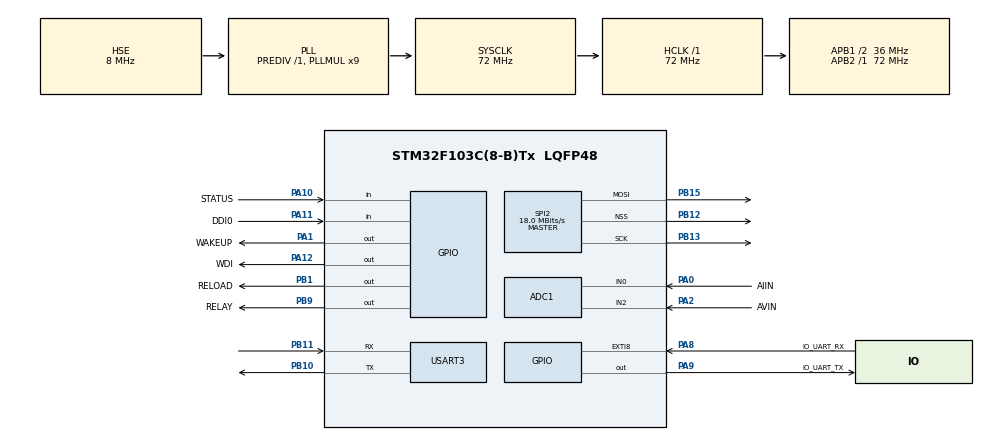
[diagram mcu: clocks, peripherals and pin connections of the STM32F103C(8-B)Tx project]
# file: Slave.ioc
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ADC1.Channel-0\#ChannelRegularConversion=ADC_CHANNEL_0
ADC1.Channel-1\#ChannelRegularConversion=ADC_CHANNEL_2
ADC1.ContinuousConvMode=ENABLE
ADC1.NbrOfConversion=2
ADC1.NbrOfConversionFlag=1
ADC1.Rank-0\#ChannelRegularConversion=1
ADC1.Rank-1\#ChannelRegularConversion=2
ADC1.SamplingTime-0\#ChannelRegularConversion=ADC_SAMPLETIME_71CYCLES_5
ADC1.SamplingTime-1\#ChannelRegularConversion=ADC_SAMPLETIME_71CYCLES_5
ADC1.master=1
Dma.ADC1.2.Direction=DMA_PERIPH_TO_MEMORY
Dma.ADC1.2.Instance=DMA1_Channel1
Dma.ADC1.2.MemDataAlignment=DMA_MDATAALIGN_WORD
Dma.ADC1.2.MemInc=DMA_MINC_ENABLE
Dma.ADC1.2.Mode=DMA_NORMAL
Dma.ADC1.2.PeriphDataAlignment=DMA_PDATAALIGN_WORD
Dma.ADC1.2.PeriphInc=DMA_PINC_DISABLE
Dma.ADC1.2.Priority=DMA_PRIORITY_MEDIUM
Dma.Request0=USART3_TX
Dma.Request1=USART3_RX
Dma.Request2=ADC1
Dma.USART3_RX.1.Direction=DMA_PERIPH_TO_MEMORY
Dma.USART3_RX.1.Instance=DMA1_Channel3
Dma.USART3_RX.1.MemDataAlignment=DMA_MDATAALIGN_BYTE
Dma.USART3_RX.1.MemInc=DMA_MINC_ENABLE
Dma.USART3_RX.1.Mode=DMA_NORMAL
Dma.USART3_RX.1.PeriphDataAlignment=DMA_PDATAALIGN_BYTE
Dma.USART3_RX.1.PeriphInc=DMA_PINC_DISABLE
Dma.USART3_RX.1.Priority=DMA_PRIORITY_HIGH
Dma.USART3_TX.0.Direction=DMA_MEMORY_TO_PERIPH
Dma.USART3_TX.0.Instance=DMA1_Channel2
Dma.USART3_TX.0.MemDataAlignment=DMA_MDATAALIGN_BYTE
Dma.USART3_TX.0.MemInc=DMA_MINC_ENABLE
Dma.USART3_TX.0.Mode=DMA_NORMAL
Dma.USART3_TX.0.PeriphDataAlignment=DMA_PDATAALIGN_BYTE
Dma.USART3_TX.0.PeriphInc=DMA_PINC_DISABLE
Dma.USART3_TX.0.Priority=DMA_PRIORITY_MEDIUM
FREERTOS.BinarySemaphores01=Recive,Dynamic,NULL
FREERTOS.INCLUDE_vTaskDelete=0
FREERTOS.Mutexes01=shellMutex,Dynamic,NULL
FREERTOS.Tasks01=shell,-2,256,Shell_Task,Default,&shell,Dynamic,NULL,NULL;modbus,-1,128,Modbus_Task,Default,NULL,Dynamic,NULL,NULL;io_output,0,128,Io_Output_Task,Default,NULL,Dynamic,NULL,NULL;IWDG,3,64,IWDG_Task,Default,NULL,Dynamic,NULL,NULL
FREERTOS.Timers01=Timer1,Timer_Callback,osTimerPeriodic,Default,NULL,Dynamic,NULL
FREERTOS.configCHECK_FOR_STACK_OVERFLOW=2
FREERTOS.configMINIMAL_STACK_SIZE=64
FREERTOS.configTOTAL_HEAP_SIZE=14336
FREERTOS.configUSE_TIMERS=1
IWDG.Prescaler=IWDG_PRESCALER_64
IWDG.Reload=1250
Mcu.Family=STM32F1
Mcu.Name=STM32F103C(8-B)Tx
Mcu.Package=LQFP48
NVIC.DMA1_Channel1_IRQn=true\:5\:0\:false\:false\:true\:true\:false\:true\:true
NVIC.DMA1_Channel2_IRQn=true\:5\:0\:false\:false\:true\:true\:false\:true\:true
NVIC.DMA1_Channel3_IRQn=true\:5\:0\:false\:false\:true\:true\:false\:true\:true
NVIC.EXTI9_5_IRQn=true\:3\:0\:true\:false\:true\:false\:true\:true\:true
NVIC.PriorityGroup=NVIC_PRIORITYGROUP_4
NVIC.TIM1_UP_IRQn=true\:0\:0\:false\:false\:true\:false\:false\:true\:true
NVIC.TIM3_IRQn=true\:4\:0\:true\:false\:true\:false\:true\:true\:true
NVIC.TIM4_IRQn=true\:3\:0\:true\:false\:true\:false\:true\:true\:true
NVIC.TimeBase=TIM1_UP_IRQn
NVIC.TimeBaseIP=TIM1
NVIC.USART3_IRQn=true\:5\:0\:false\:false\:true\:true\:true\:true\:true
PA0-WKUP.GPIO_Label=AIIN
PA0-WKUP.Signal=ADCx_IN0
PA1.GPIO_Label=WAKEUP
PA1.GPIO_PuPd=GPIO_PULLUP
PA1.GPIO_Speed=GPIO_SPEED_FREQ_LOW
PA1.PinState=GPIO_PIN_SET
PA1.Signal=GPIO_Output
PA10.GPIO_Label=STATUS
PA10.GPIO_PuPd=GPIO_PULLUP
PA10.Signal=GPIO_Input
PA11.GPIO_Label=DDI0
PA11.GPIO_PuPd=GPIO_PULLUP
PA11.Signal=GPIO_Input
PA12.GPIO_Label=WDI
PA12.GPIO_PuPd=GPIO_PULLUP
PA12.GPIO_Speed=GPIO_SPEED_FREQ_HIGH
PA12.PinState=GPIO_PIN_SET
PA12.Signal=GPIO_Output
PA13.Mode=Serial_Wire
PA13.Signal=SYS_JTMS-SWDIO
PA14.Mode=Serial_Wire
PA14.Signal=SYS_JTCK-SWCLK
PA2.GPIO_Label=AVIN
PA2.Signal=ADCx_IN2
PA8.GPIO_Label=IO_UART_RX
PA8.GPIO_ModeDefaultEXTI=GPIO_MODE_IT_FALLING
PA8.GPIO_PuPd=GPIO_PULLUP
PA8.Signal=GPXTI8
PA9.GPIO_Label=IO_UART_TX
PA9.GPIO_PuPd=GPIO_PULLUP
PA9.GPIO_Speed=GPIO_SPEED_FREQ_HIGH
PA9.PinState=GPIO_PIN_SET
PA9.Signal=GPIO_Output
PB1.GPIO_Label=RELOAD
PB1.GPIO_PuPd=GPIO_PULLUP
PB1.PinState=GPIO_PIN_SET
PB1.Signal=GPIO_Output
PB10.Mode=Asynchronous
PB10.Signal=USART3_TX
PB11.Mode=Asynchronous
PB11.Signal=USART3_RX
PB12.Mode=NSS_Signal_Hard_Output
PB12.Signal=SPI2_NSS
PB13.Mode=TX_Only_Simplex_Unidirect_Master
PB13.Signal=SPI2_SCK
PB15.Mode=TX_Only_Simplex_Unidirect_Master
PB15.Signal=SPI2_MOSI
PB9.GPIO_Label=RELAY
PB9.GPIO_PuPd=GPIO_PULLDOWN
PB9.GPIO_Speed=GPIO_SPEED_FREQ_HIGH
PB9.Signal=GPIO_Output
PC14-OSC32_IN.Mode=LSE-External-Oscillator
PC14-OSC32_IN.Signal=RCC_OSC32_IN
PC15-OSC32_OUT.Mode=LSE-External-Oscillator
PC15-OSC32_OUT.Signal=RCC_OSC32_OUT
PD0-OSC_IN.Mode=HSE-External-Oscillator
PD0-OSC_IN.Signal=RCC_OSC_IN
PD1-OSC_OUT.Mode=HSE-External-Oscillator
PD1-OSC_OUT.Signal=RCC_OSC_OUT
ProjectManager.HeapSize=0x0
ProjectManager.StackSize=0x800
ProjectManager.TargetToolchain=MDK-ARM V5.27
RCC.ADCPresc=RCC_ADCPCLK2_DIV6
RCC.AHBFreq_Value=72000000
RCC.APB1CLKDivider=RCC_HCLK_DIV2
RCC.APB1Freq_Value=36000000
RCC.APB1TimFreq_Value=72000000
RCC.APB2Freq_Value=72000000
RCC.APB2TimFreq_Value=72000000
RCC.HCLKFreq_Value=72000000
RCC.PLLMUL=RCC_PLL_MUL9
RCC.PLLSourceVirtual=RCC_PLLSOURCE_HSE
RCC.SYSCLKFreq_VALUE=72000000
RCC.SYSCLKSource=RCC_SYSCLKSOURCE_PLLCLK
RCC.USBFreq_Value=72000000
SH.ADCx_IN0.0=ADC1_IN0,IN0
SH.ADCx_IN2.0=ADC1_IN2,IN2
SPI2.CalculateBaudRate=18.0 MBits/s
SPI2.DataSize=SPI_DATASIZE_16BIT
SPI2.Direction=SPI_DIRECTION_2LINES
SPI2.Mode=SPI_MODE_MASTER
SPI2.VirtualNSS=VM_NSSHARD
SPI2.VirtualType=VM_MASTER
TIM3.Prescaler=72-1
TIM4.Prescaler=72-1
USART3.VirtualMode=VM_ASYNC
VP_FREERTOS_VS_CMSIS_V1.Mode=CMSIS_V1
VP_IWDG_VS_IWDG.Mode=IWDG_Activate
VP_SYS_VS_tim1.Mode=TIM1
VP_TIM3_VS_ClockSourceINT.Mode=Internal
VP_TIM4_VS_ClockSourceINT.Mode=Internal
board=custom

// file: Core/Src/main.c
/* USER CODE BEGIN Header */
/**
 ******************************************************************************
 * @file           : main.c
 * @brief          : Main program body
 ******************************************************************************
 * @attention
 *
 * <h2><center>&copy; Copyright (c) 2022 STMicroelectronics.
 * All rights reserved.</center></h2>
 *
 * This software component is licensed by ST under Ultimate Liberty license
 * SLA0044, the "License"; You may not use this file except in compliance with
 * the License. You may obtain a copy of the License at:
 *                             www.st.com/SLA0044
 *
 ******************************************************************************
 */
/* USER CODE END Header */
#include "main.h"
#include "cmsis_os.h"
#include "adc.h"
#include "dma.h"
#include "iwdg.h"
#include "spi.h"
#include "tim.h"
#include "usart.h"
#include "gpio.h"

/* USER CODE BEGIN Includes */
#include "shell_port.h"
#include "mdrtuslave.h"
#include "io_uart.h"
/* USER CODE END Includes */

void SystemClock_Config(void);
void MX_FREERTOS_Init(void);

int main(void)
{

  /* MCU Configuration--------------------------------------------------------*/

  /* Reset of all peripherals, Initializes the Flash interface and the Systick. */
  HAL_Init();

  /* Configure the system clock */
  SystemClock_Config();

  /* Initialize all configured peripherals */
  MX_GPIO_Init();
  MX_DMA_Init();
  MX_USART3_UART_Init();
  MX_ADC1_Init();
  MX_SPI2_Init();
  MX_IWDG_Init();
  MX_TIM3_Init();
  MX_TIM4_Init();
/* USER CODE BEGIN 2 */
#if defined(USING_IO_UART)
  MX_Suart_Init();
#endif
  User_Shell_Init(Shell_Object);
  ModbusInit();
  HAL_ADC_Start_DMA(&hadc1, (uint32_t *)Adc_buffer, ADC_DMA_SIZE);
  /* USER CODE END 2 */

  /* Call init function for freertos objects (in freertos.c) */
  MX_FREERTOS_Init();

  /* Start scheduler */
  osKernelStart();

  /* We should never get here as control is now taken by the scheduler */
  /* Infinite loop */
  while (1)
  {

  }
}

void SystemClock_Config(void)
{
  RCC_OscInitTypeDef RCC_OscInitStruct = {0};
  RCC_ClkInitTypeDef RCC_ClkInitStruct = {0};
  RCC_PeriphCLKInitTypeDef PeriphClkInit = {0};

  /** Initializes the RCC Oscillators according to the specified parameters
   * in the RCC_OscInitTypeDef structure.
   */
  RCC_OscInitStruct.OscillatorType = RCC_OSCILLATORTYPE_LSI | RCC_OSCILLATORTYPE_HSE;
  RCC_OscInitStruct.HSEState = RCC_HSE_ON;
  RCC_OscInitStruct.HSEPredivValue = RCC_HSE_PREDIV_DIV1;
  RCC_OscInitStruct.HSIState = RCC_HSI_ON;
  RCC_OscInitStruct.LSIState = RCC_LSI_ON;
  RCC_OscInitStruct.PLL.PLLState = RCC_PLL_ON;
  RCC_OscInitStruct.PLL.PLLSource = RCC_PLLSOURCE_HSE;
  RCC_OscInitStruct.PLL.PLLMUL = RCC_PLL_MUL9;
  if (HAL_RCC_OscConfig(&RCC_OscInitStruct) != HAL_OK)
  {
    Error_Handler();
  }

  /** Initializes the CPU, AHB and APB buses clocks
   */
  RCC_ClkInitStruct.ClockType = RCC_CLOCKTYPE_HCLK | RCC_CLOCKTYPE_SYSCLK | RCC_CLOCKTYPE_PCLK1 | RCC_CLOCKTYPE_PCLK2;
  RCC_ClkInitStruct.SYSCLKSource = RCC_SYSCLKSOURCE_PLLCLK;
  RCC_ClkInitStruct.AHBCLKDivider = RCC_SYSCLK_DIV1;
  RCC_ClkInitStruct.APB1CLKDivider = RCC_HCLK_DIV2;
  RCC_ClkInitStruct.APB2CLKDivider = RCC_HCLK_DIV1;

  if (HAL_RCC_ClockConfig(&RCC_ClkInitStruct, FLASH_LATENCY_2) != HAL_OK)
  {
    Error_Handler();
  }
  PeriphClkInit.PeriphClockSelection = RCC_PERIPHCLK_ADC;
  PeriphClkInit.AdcClockSelection = RCC_ADCPCLK2_DIV6;
  if (HAL_RCCEx_PeriphCLKConfig(&PeriphClkInit) != HAL_OK)
  {
    Error_Handler();
  }
}

void HAL_TIM_PeriodElapsedCallback(TIM_HandleTypeDef *htim)
{
  /* USER CODE BEGIN Callback 0 */
  IoUart_HandleTypeDef *huart = &S_Uart1;
  static uint8_t Samp_Bits = 0;
  /* USER CODE END Callback 0 */
  if (htim->Instance == TIM1)
  {
    HAL_IncTick();
  }
  /* USER CODE BEGIN Callback 1 */
  else if (htim->Instance == TIM3)
  { /*Data transmission, transmission priority, no transmission before entering the receiving state*/
    if (huart->Tx.En)
    { /*Serial port sending bit status judgment*/
      switch (huart->Tx.Status)
      {
      case COM_START_BIT:
      {
        HAL_GPIO_WritePin(IO_UART_TX_GPIO_Port, IO_UART_TX_Pin, GPIO_PIN_RESET);
        huart->Tx.Status = COM_DATA_BIT;
        huart->Tx.Bits = 0U;
      }
      break;
      case COM_DATA_BIT:
      {
        HAL_GPIO_WritePin(IO_UART_TX_GPIO_Port, IO_UART_TX_Pin, (GPIO_PinState)((*(huart->Tx.pBuf) >> huart->Tx.Bits) & 0x01));

        if (++huart->Tx.Bits >= 8U)
        {
          huart->Tx.Status = huart->Check_Type ? COM_CHECK_BIT : COM_STOP_BIT;
        }
      }
      break;
      case COM_CHECK_BIT:
      {
      }
      break;
      case COM_STOP_BIT:
      {
        HAL_GPIO_WritePin(IO_UART_TX_GPIO_Port, IO_UART_TX_Pin, GPIO_PIN_SET);
        huart->Tx.Bits = 0U;
        if (--huart->Tx.Len)
        {
          huart->Tx.Status = COM_START_BIT;
          huart->Tx.pBuf++;
        }
        else
        {
          huart->Tx.Status = COM_NONE_BIT;
          huart->Tx.En = false;
          huart->Rx.En = true;
          HAL_TIM_Base_Stop_IT(huart->Tx.Timer_Handle);
          __HAL_TIM_SET_COUNTER(huart->Tx.Timer_Handle, 0U);
          /*清除外部中断线挂起寄存器*/
          __HAL_GPIO_EXTI_CLEAR_IT(IO_UART_RX_Pin);
          HAL_NVIC_EnableIRQ(huart->Rx.IRQn);
          huart->Tx.Finsh_Flag = true;
        }
      }
      break;
      default:
        break;
      }
    }
  }
  else if (htim->Instance == TIM4)
  {
    if (huart->Rx.En)
    {
      switch (huart->Rx.Status)
      {
      case COM_START_BIT:
      {
        Samp_Bits = (Samp_Bits << 1U) | (HAL_GPIO_ReadPin(IO_UART_RX_GPIO_Port, IO_UART_RX_Pin) & 0x01);

        if (++huart->Rx.Filters >= MAX_SAMPING)
        {
          if (!Get_ValidBits(Samp_Bits))
          {
            huart->Rx.Status = COM_DATA_BIT;
            __HAL_TIM_SET_AUTORELOAD(huart->Rx.Timer_Handle, huart->Rx.Sam_Times[huart->Rx.Filters]);
          }
          else
          {
            huart->Rx.Status = COM_STOP_BIT;
          }
          Samp_Bits = 0U;
          huart->Rx.Filters = 0U;
        }
        else
        {
          __HAL_TIM_SET_AUTORELOAD(huart->Rx.Timer_Handle, huart->Rx.Sam_Times[huart->Rx.Filters]);
        }
      }
      break;
      case COM_DATA_BIT: /*Data bit*/
      {
        Samp_Bits = (Samp_Bits << 1U) | (HAL_GPIO_ReadPin(IO_UART_RX_GPIO_Port, IO_UART_RX_Pin) & 0x01);

        if (++huart->Rx.Filters >= MAX_SAMPING)
        {
          huart->Rx.Data |= (Get_ValidBits(Samp_Bits) & 0x01) << huart->Rx.Bits;
          if (huart->Rx.Bits >= 7U)
          {
            huart->Rx.Bits = 0;
            huart->Rx.Status = huart->Check_Type ? COM_CHECK_BIT : COM_STOP_BIT;
          }
          else
          {
            huart->Rx.Bits++;
          }
          __HAL_TIM_SET_AUTORELOAD(huart->Rx.Timer_Handle, huart->Rx.Sam_Times[huart->Rx.Filters]);
          huart->Rx.Filters = 0U;
          Samp_Bits = 0U;
        }
        else
        {
          __HAL_TIM_SET_AUTORELOAD(huart->Rx.Timer_Handle, huart->Rx.Sam_Times[huart->Rx.Filters]);
        }
      }
      break;
      case COM_CHECK_BIT: /*Check bit*/
      {
        huart->Rx.Status = COM_NONE_BIT;
      }
      break;
      case COM_STOP_BIT: /*stop bit*/
      {
        Samp_Bits = (Samp_Bits << 1U) | (HAL_GPIO_ReadPin(IO_UART_RX_GPIO_Port, IO_UART_RX_Pin) & 0x01);

        if (++huart->Rx.Filters >= MAX_SAMPING)
        { /*Stop bit received correctly*/
          if (Get_ValidBits(Samp_Bits))
          {
            huart->Rx.Len++;
            huart->Rx.Status = COM_NONE_BIT;
            // huart->Rx.En = true;
            // huart->Tx.En = false; ///
            HAL_TIM_Base_Stop_IT(huart->Rx.Timer_Handle);
            __HAL_TIM_SET_COUNTER(huart->Rx.Timer_Handle, 0U);
            // HAL_NVIC_EnableIRQ(huart->Rx.IRQn);
            /*Two interrupts are generated when one data is received?*/
            // huart->Rx.Finsh_Flag ^= true;
            huart->Rx.Finsh_Flag = true;
          }
          huart->Rx.Filters = 0U;
          Samp_Bits = 0U;
        }
        else
        {
          __HAL_TIM_SET_AUTORELOAD(huart->Rx.Timer_Handle, huart->Rx.Sam_Times[huart->Rx.Filters]);
        }
      }
      break;
      default:
        break;
      }
    }
  }

  /* USER CODE END Callback 1 */
}

void Error_Handler(void)
{
  __disable_irq();
  while (1)
  {
  }
}

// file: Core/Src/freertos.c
/* USER CODE BEGIN Header */
/**
 ******************************************************************************
 * File Name          : freertos.c
 * Description        : Code for freertos applications
 ******************************************************************************
 * @attention
 *
 * <h2><center>&copy; Copyright (c) 2022 STMicroelectronics.
 * All rights reserved.</center></h2>
 *
 * This software component is licensed by ST under Ultimate Liberty license
 * SLA0044, the "License"; You may not use this file except in compliance with
 * the License. You may obtain a copy of the License at:
 *                             www.st.com/SLA0044
 *
 ******************************************************************************
 */
/* USER CODE END Header */

#include "FreeRTOS.h"
#include "task.h"
#include "main.h"
#include "cmsis_os.h"

/* USER CODE BEGIN Includes */
#include "usart.h"
#include "shell.h"
#include "shell_port.h"
#include "mdrtuslave.h"
#include "io_signal.h"
#include "at.h"
/* USER CODE END Includes */

osThreadId shellHandle;
osThreadId modbusHandle;
osThreadId io_outputHandle;
osThreadId IWDGHandle;
osTimerId Timer1Handle;
osMutexId shellMutexHandle;
osSemaphoreId ReciveHandle;

/* USER CODE BEGIN FunctionPrototypes */
// GPIO_PinState g_State = GPIO_PIN_SET;
bool g_Timerout_Flag = false;
static uint32_t g_Counter = 0;
/* USER CODE END FunctionPrototypes */

void Shell_Task(void const *argument);
void Modbus_Task(void const *argument);
void Io_Output_Task(void const *argument);
void IWDG_Task(void const *argument);
void Timer_Callback(void const *argument);

void MX_FREERTOS_Init(void); /* (MISRA C 2004 rule 8.1) */

/* GetIdleTaskMemory prototype (linked to static allocation support) */
void vApplicationGetIdleTaskMemory(StaticTask_t **ppxIdleTaskTCBBuffer, StackType_t **ppxIdleTaskStackBuffer, uint32_t *pulIdleTaskStackSize);

/* GetTimerTaskMemory prototype (linked to static allocation support) */
void vApplicationGetTimerTaskMemory(StaticTask_t **ppxTimerTaskTCBBuffer, StackType_t **ppxTimerTaskStackBuffer, uint32_t *pulTimerTaskStackSize);

/* Hook prototypes */
void vApplicationStackOverflowHook(xTaskHandle xTask, signed char *pcTaskName);

/* USER CODE BEGIN 4 */
__weak void vApplicationStackOverflowHook(xTaskHandle xTask, signed char *pcTaskName)
{
  /* Run time stack overflow checking is performed if
  configCHECK_FOR_STACK_OVERFLOW is defined to 1 or 2. This hook function is
  called if a stack overflow is detected. */
  shellPrint(&shell, "%s is stack overflow!\r\n", pcTaskName);
}
/* USER CODE END 4 */

/* USER CODE BEGIN GET_IDLE_TASK_MEMORY */
static StaticTask_t xIdleTaskTCBBuffer;
static StackType_t xIdleStack[configMINIMAL_STACK_SIZE];

void vApplicationGetIdleTaskMemory(StaticTask_t **ppxIdleTaskTCBBuffer, StackType_t **ppxIdleTaskStackBuffer, uint32_t *pulIdleTaskStackSize)
{
  *ppxIdleTaskTCBBuffer = &xIdleTaskTCBBuffer;
  *ppxIdleTaskStackBuffer = &xIdleStack[0];
  *pulIdleTaskStackSize = configMINIMAL_STACK_SIZE;
  /* place for user code */
}
/* USER CODE END GET_IDLE_TASK_MEMORY */

/* USER CODE BEGIN GET_TIMER_TASK_MEMORY */
static StaticTask_t xTimerTaskTCBBuffer;
static StackType_t xTimerStack[configTIMER_TASK_STACK_DEPTH];

void vApplicationGetTimerTaskMemory(StaticTask_t **ppxTimerTaskTCBBuffer, StackType_t **ppxTimerTaskStackBuffer, uint32_t *pulTimerTaskStackSize)
{
  *ppxTimerTaskTCBBuffer = &xTimerTaskTCBBuffer;
  *ppxTimerTaskStackBuffer = &xTimerStack[0];
  *pulTimerTaskStackSize = configTIMER_TASK_STACK_DEPTH;
  /* place for user code */
}
/* USER CODE END GET_TIMER_TASK_MEMORY */

void MX_FREERTOS_Init(void)
{
  /* Create the mutex(es) */
  /* definition and creation of shellMutex */
  osMutexDef(shellMutex);
  shellMutexHandle = osMutexCreate(osMutex(shellMutex));

  /* Create the semaphores(s) */
  /* definition and creation of Recive */
  osSemaphoreDef(Recive);
  ReciveHandle = osSemaphoreCreate(osSemaphore(Recive), 1);

  /* Create the timer(s) */
  /* definition and creation of Timer1 */
  osTimerDef(Timer1, Timer_Callback);
  Timer1Handle = osTimerCreate(osTimer(Timer1), osTimerPeriodic, NULL);

  /* Create the thread(s) */
  /* definition and creation of shell */
  osThreadDef(shell, Shell_Task, osPriorityLow, 0, 256);
  shellHandle = osThreadCreate(osThread(shell), (void *)&shell);

  /* definition and creation of modbus */
  osThreadDef(modbus, Modbus_Task, osPriorityBelowNormal, 0, 128);
  modbusHandle = osThreadCreate(osThread(modbus), NULL);

  /* definition and creation of io_output */
  osThreadDef(io_output, Io_Output_Task, osPriorityNormal, 0, 128);
  io_outputHandle = osThreadCreate(osThread(io_output), NULL);

  /* definition and creation of IWDG */
  osThreadDef(IWDG, IWDG_Task, osPriorityRealtime, 0, 64);
  IWDGHandle = osThreadCreate(osThread(IWDG), NULL);

  /* USER CODE BEGIN RTOS_THREADS */
  /* add threads, ... */
  osTimerStart(Timer1Handle, RELAY_CLOSE_TIMES);
  /* USER CODE END RTOS_THREADS */
}

void Shell_Task(void const *argument)
{
  /* USER CODE BEGIN Shell_Task */
  HAL_NVIC_DisableIRQ(TIM3_IRQn);
  HAL_NVIC_DisableIRQ(TIM4_IRQn);
  HAL_NVIC_DisableIRQ(EXTI9_5_IRQn);
  HAL_NVIC_SetPriority(TIM3_IRQn, 6, 0);
  HAL_NVIC_SetPriority(TIM4_IRQn, 7, 0);
  HAL_NVIC_SetPriority(EXTI9_5_IRQn, 7, 0);
  HAL_NVIC_EnableIRQ(TIM3_IRQn);
  HAL_NVIC_EnableIRQ(TIM4_IRQn);
  HAL_NVIC_EnableIRQ(EXTI9_5_IRQn);
  At_GetSlaveId();
  /* Infinite loop */
  for (;;)
  {
    shellTask((void *)argument);
  }
  /* USER CODE END Shell_Task */
}

void Modbus_Task(void const *argument)
{
  /* USER CODE BEGIN Modbus_Task */
  /* Infinite loop */
  for (;;)
  {
    /*https://www.cnblogs.com/w-smile/p/11333950.html*/
    if (osOK == osSemaphoreWait(ReciveHandle, osWaitForever))
    {
      g_Timerout_Flag = false;
      g_Counter = 0;
      extern bool g_LoraMutex;
      if (!g_LoraMutex)
      {
        mdRTU_Handler();
      }
//		shellPrint(&shell, "buf is %s \r\n", mdhandler->receiveBuffer->buf);
// Usart3_Printf("%s\r\n", mdhandler->receiveBuffer->buf);
#if defined(USING_DEBUG)
      // shellPrint(&shell,"Mdbus_Task is running !\r\n");
#endif
    }
  }
  /* USER CODE END Modbus_Task */
}

void Io_Output_Task(void const *argument)
{
  /* USER CODE BEGIN Io_Output_Task */
  /* Infinite loop */
  for (;;)
  {
    /*Dog feed signal*/
    // g_State ^= GPIO_PIN_SET;
    // HAL_GPIO_WritePin(GPIOA, WDI_Pin, g_State);
    HAL_GPIO_TogglePin(GPIOA, WDI_Pin);
#if !defined(AS_REPEATER)
    Io_Digital_Output(g_Timerout_Flag);
#endif
    osDelay(50);
  }
  /* USER CODE END Io_Output_Task */
}

void IWDG_Task(void const *argument)
{
  /* USER CODE BEGIN IWDG_Task */
  /* Infinite loop */
  for (;;)
  {
    extern IWDG_HandleTypeDef hiwdg;
    HAL_IWDG_Refresh(&hiwdg);
    osDelay(100);
  }
  /* USER CODE END IWDG_Task */
}

/* Timer_Callback function */
void Timer_Callback(void const *argument)
{
  /* USER CODE BEGIN Timer_Callback */
  // Usart3_Printf("hello world !\r\n");
  //	shellPrint(&shell, "hello world !\r\n");
#define MAX_COUNTS 10U

  if (++g_Counter > MAX_COUNTS)
  {
    g_Counter = 0U;
    g_Timerout_Flag = true;
  }
  /* USER CODE END Timer_Callback */
}
